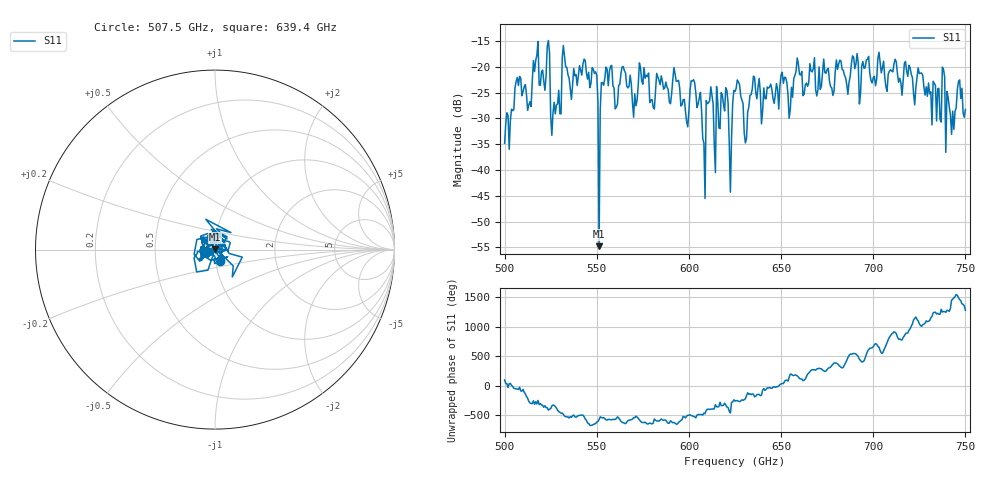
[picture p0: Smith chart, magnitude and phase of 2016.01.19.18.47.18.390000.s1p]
!Created with skrf (http://scikit-rf.org).
# GHz S RI R 50.0
!freq ReS11 ImS11
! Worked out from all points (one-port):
!   401 points, 500 GHz to 750 GHz, reference 50 ohm
!   lowest |S11| = -54.8 dB at 551.2 GHz (marker M1), VSWR 1.00, Z = 49.9 + j0.118 ohm
!   |S11| at or under -10 dB: start of sweep to end of sweep
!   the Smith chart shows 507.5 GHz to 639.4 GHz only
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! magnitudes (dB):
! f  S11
! 500 GHz  -34.8
! 507.5 GHz  -23.6
! 513.8 GHz  -26.8
! 516.9 GHz  -18.7
! 523.1 GHz  -16.0
! 526.2 GHz  -28.9
! 531.2 GHz  -18.3
! 548.8 GHz  -21.3
! 551.2 GHz  -54.8
! 554.4 GHz  -22.2
! 562.5 GHz  -23.4
! 576.9 GHz  -21.6
! 580 GHz  -26.3
! 593.8 GHz  -22.7
! 598.8 GHz  -30.6
! 602.5 GHz  -22.5
! 608.1 GHz  -34.8
! 611.2 GHz  -26.6
! 615 GHz  -23.8
! 620 GHz  -24.0
! 622.5 GHz  -44.3
! 625 GHz  -24.8
! 631.2 GHz  -33.9
! 634.4 GHz  -24.3
! 656.2 GHz  -25.9
! 687.5 GHz  -21.9
! 718.8 GHz  -21.8
! 750 GHz  -28.3
